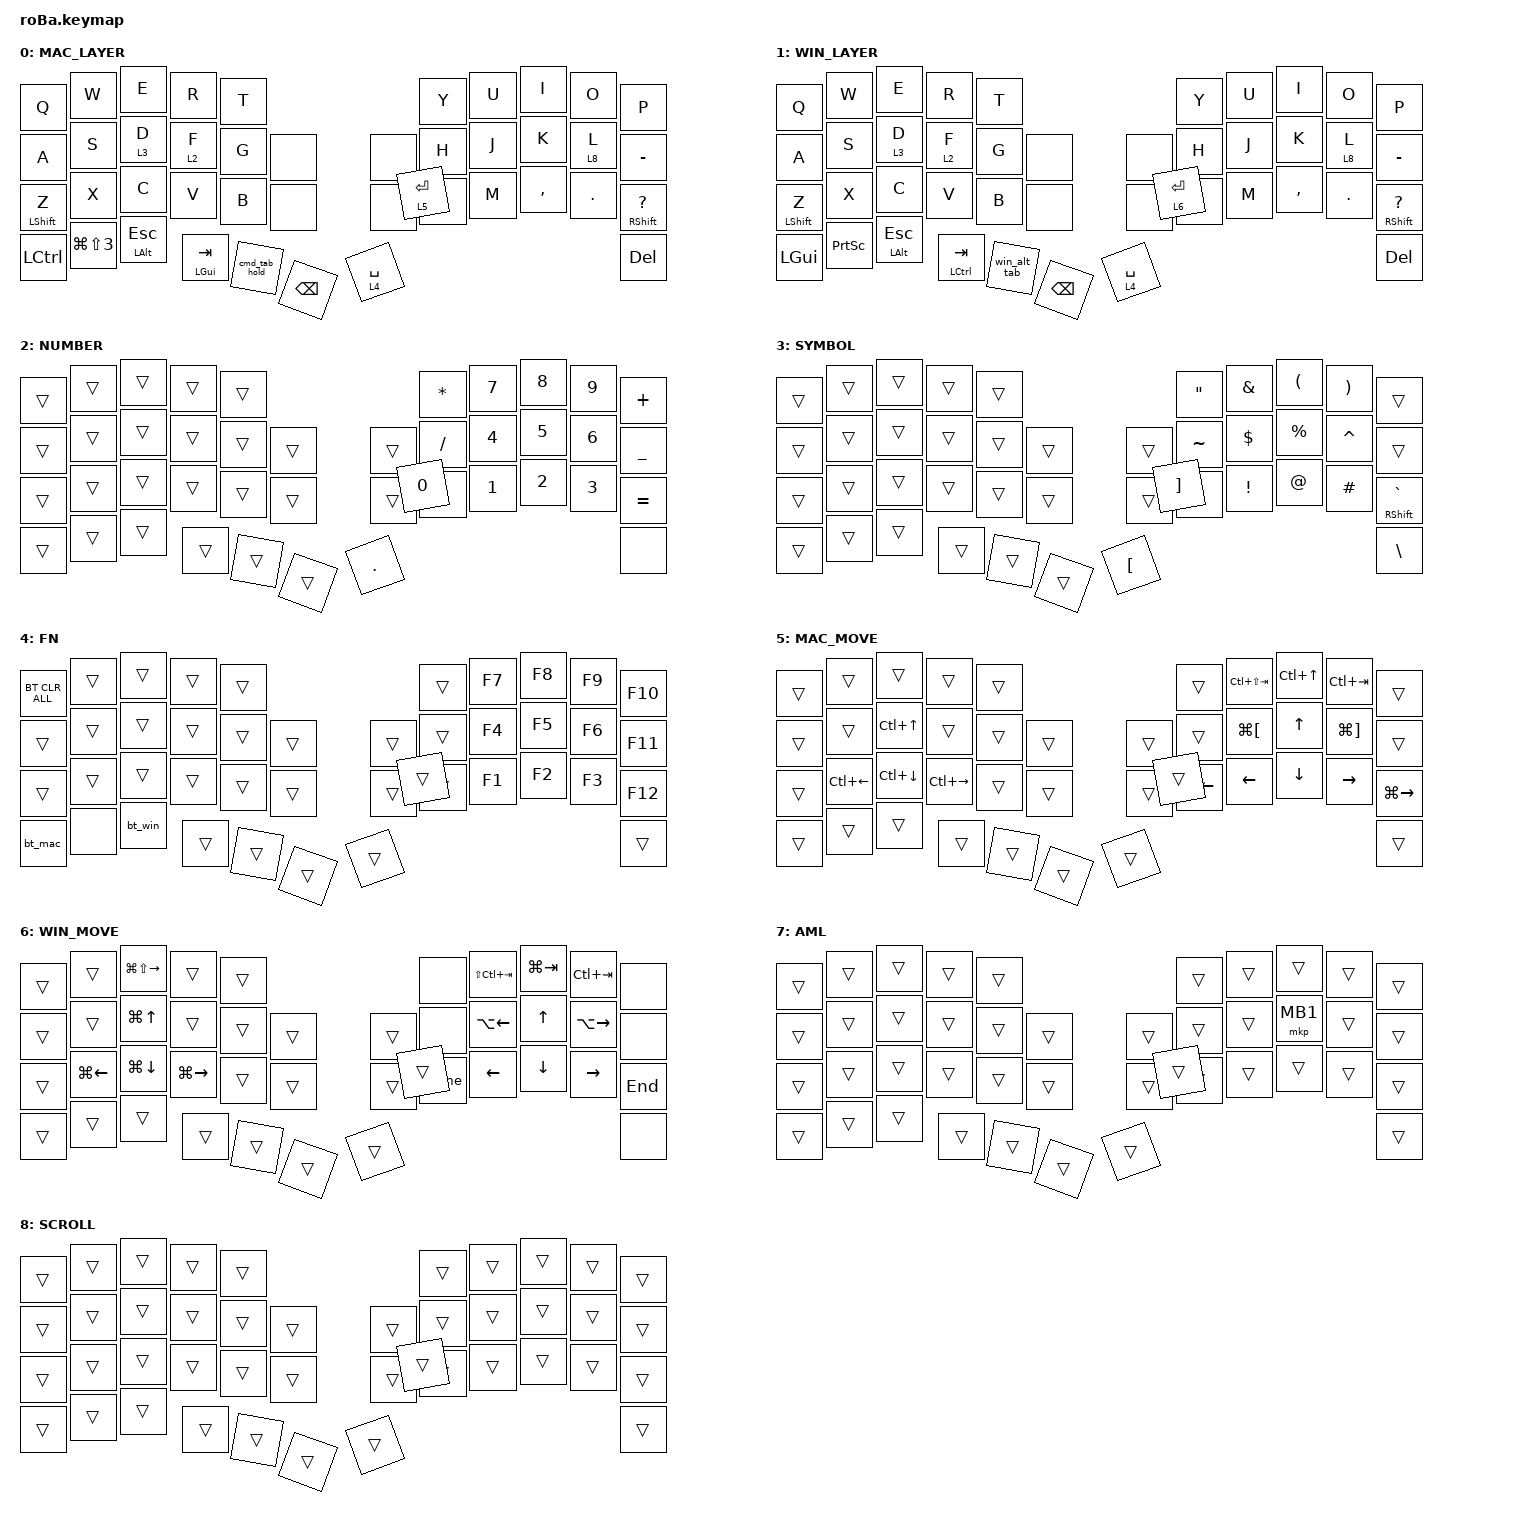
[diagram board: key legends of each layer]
#include <input/processors.dtsi>
#include <behaviors.dtsi>
#include <dt-bindings/zmk/bt.h>
#include <dt-bindings/zmk/keys.h>
#include <dt-bindings/zmk/pointing.h>

#define MOUSE 7

&mkp_input_listener { input-processors = <&zip_temp_layer 7 10000>; };

&mt {
    flavor = "balanced";
    quick-tap-ms = <0>;
};

&trackball { scroll-layers = <8>; };

/ {
    behaviors {
        tog_on: toggle_layer_on_only {
            compatible = "zmk,behavior-toggle-layer";
            #binding-cells = <1>;
            display-name = "Toggle Layer On";
            toggle-mode = "on";
        };

        tog_off: toggle_layer_off {
            compatible = "zmk,behavior-toggle-layer";
            #binding-cells = <1>;
            display-name = "Toggle Layer Off";
            toggle-mode = "off";
        };

        mt_exit_AML_on_tap: mt_exit_AML_on_tap {
            compatible = "zmk,behavior-hold-tap";
            label = "MT_exit_AML_ON_TAP";
            bindings = <&kp>, <&kp_exit_AML>;

            #binding-cells = <2>;
            tapping-term-ms = <200>;
            flavor = "balanced";
            quick-tap-ms = <200>;
        };
    };

    macros {
        compatible = "zmk,macros";

        cmd_tab_hold: cmd_tab_hold {
            compatible = "zmk,behavior-macro";
            #binding-cells = <0>;
            bindings =
                <&macro_press>,
                <&kp LEFT_GUI>,
                <&macro_tap>,
                <&kp TAB>,
                <&macro_pause_for_release>,
                <&macro_release>,
                <&kp LEFT_GUI>;

            label = "CMD_TAB_HOLD";
        };

        win_alt_tab: win_alt_tab {
            compatible = "zmk,behavior-macro";
            #binding-cells = <0>;
            bindings =
                <&macro_press>,
                <&kp LEFT_ALT>,
                <&macro_tap>,
                <&kp TAB>,
                <&macro_pause_for_release>,
                <&macro_release>,
                <&kp LEFT_ALT>;

            label = "WIN_ALT_TAB";
        };

        exit_AML: exit_AML {
            compatible = "zmk,behavior-macro";
            wait-ms = <0>;
            tap-ms = <0>;
            #binding-cells = <0>;
            bindings = <&tog_off 7>;
            label = "exit_AML";
        };

        kp_exit_AML: kp_exit_AML {
            compatible = "zmk,behavior-macro-one-param";
            wait-ms = <0>;
            tap-ms = <0>;
            #binding-cells = <1>;
            bindings = <&macro_param_1to1 &kp MACRO_PLACEHOLDER &exit_AML>;
            label = "KP_exit_AML";
        };

        bt_mac: bt_mac {
            compatible = "zmk,behavior-macro";
            #binding-cells = <0>;
            bindings =
                <&tog_off 1 &tog_off 0>,
                <&macro_wait_time 200>,
                <&bt BT_SEL 0>,
                <&macro_wait_time 500>,
                <&tog_on 0 &bt BT_DISC 1>;

            label = "BT_MAC";
        };

        bt_win: bt_win {
            compatible = "zmk,behavior-macro";
            #binding-cells = <0>;
            bindings =
                <&tog_off 1 &tog_off 0>,
                <&macro_wait_time 200>,
                <&bt BT_SEL 1>,
                <&macro_wait_time 500>,
                <&tog_on 1 &bt BT_DISC 0>;

            label = "BT_WIN";
        };
    };

    combos {
        compatible = "zmk,combos";

        eisu {
            bindings = <&kp INT_MUHENKAN>;
            key-positions = <2 1>;
            layers = <1>;
        };

        kana {
            bindings = <&kp INTERNATIONAL_4>;
            key-positions = <7 8>;
            layers = <1>;
        };

        abc {
            bindings = <&kp LANG2>;
            key-positions = <1 2>;
            layers = <0>;
        };

        aiu {
            bindings = <&kp LANG1>;
            key-positions = <7 8>;
            layers = <0>;
        };

        mb2 {
            bindings = <&mkp MB2>;
            key-positions = <19 20>;
        };
    };

    keymap {
        compatible = "zmk,keymap";

        MAC_LAYER {
            bindings = <
&kp Q                             &kp W                 &kp E                &kp R                             &kp T                                          &kp Y        &kp U  &kp I      &kp O    &kp P
&kp A                             &kp S                 &lt 3 D              &lt 2 F                           &kp G          &none              &none        &kp H        &kp J  &kp K      &lt 8 L  &kp MINUS
&mt_exit_AML_on_tap LEFT_SHIFT Z  &kp X                 &kp C                &kp V                             &kp B          &none              &none        &kp N        &kp M  &kp COMMA  &kp DOT  &mt_exit_AML_on_tap RIGHT_SHIFT QUESTION
&kp LEFT_CONTROL                  &kp LG(LS(NUMBER_3))  &mt LEFT_ALT ESCAPE  &mt_exit_AML_on_tap LEFT_GUI TAB  &cmd_tab_hold  &kp BACKSPACE      &lt 4 SPACE  &lt 5 ENTER                             &kp DELETE
            >;
        };

        WIN_LAYER {
            bindings = <
&kp Q                         &kp W            &kp E                &kp R                                 &kp T                                         &kp Y        &kp U  &kp I      &kp O       &kp P
&kp A                         &kp S            &lt 3 D              &lt 2 F                               &kp G         &none              &none        &kp H        &kp J  &kp K      &lt 8 L     &kp MINUS
&mt_exit_AML_on_tap LSHIFT Z  &kp X            &kp C                &kp V                                 &kp B         &none              &none        &kp N        &kp M  &kp COMMA  &kp PERIOD  &mt_exit_AML_on_tap RIGHT_SHIFT QUESTION
&kp LEFT_GUI                  &kp PRINTSCREEN  &mt LEFT_ALT ESCAPE  &mt_exit_AML_on_tap LEFT_CONTROL TAB  &win_alt_tab  &kp BACKSPACE      &lt 4 SPACE  &lt 6 ENTER                                &kp DELETE
            >;
        };

        NUMBER {
            bindings = <
&trans  &trans  &trans  &trans  &trans                       &kp ASTERISK  &kp N7  &kp N8  &kp N9  &kp PLUS
&trans  &trans  &trans  &trans  &trans  &trans      &trans   &kp SLASH     &kp N4  &kp N5  &kp N6  &kp UNDERSCORE
&trans  &trans  &trans  &trans  &trans  &trans      &trans   &kp COLON     &kp N1  &kp N2  &kp N3  &kp EQUAL
&trans  &trans  &trans  &trans  &trans  &trans      &kp DOT  &kp NUMBER_0                          &none
            >;
        };

        SYMBOL {
            bindings = <
&trans  &trans  &trans  &trans  &trans                                &kp DOUBLE_QUOTES  &kp AMPERSAND    &kp LEFT_PARENTHESIS  &kp RIGHT_PARENTHESIS  &trans
&trans  &trans  &trans  &trans  &trans  &trans      &trans            &kp TILDE          &kp DOLLAR       &kp PERCENT           &kp CARET              &trans
&trans  &trans  &trans  &trans  &trans  &trans      &trans            &kp SEMICOLON      &kp EXCLAMATION  &kp AT_SIGN           &kp HASH               &mt RIGHT_SHIFT GRAVE
&trans  &trans  &trans  &trans  &trans  &trans      &kp LEFT_BRACKET  &kp RIGHT_BRACKET                                                                &kp BACKSLASH
            >;
        };

        FN {
            bindings = <
&bt BT_CLR_ALL  &trans  &trans   &trans  &trans                      &trans  &kp F7  &kp F8  &kp F9  &kp F10
&trans          &trans  &trans   &trans  &trans  &trans      &trans  &trans  &kp F4  &kp F5  &kp F6  &kp F11
&trans          &trans  &trans   &trans  &trans  &trans      &trans  &trans  &kp F1  &kp F2  &kp F3  &kp F12
&bt_mac         &none   &bt_win  &trans  &trans  &trans      &trans  &trans                          &trans
            >;
        };

        MAC_MOVE {
            bindings = <
&trans  &trans              &trans              &trans               &trans                      &trans              &kp LC(LS(TAB))       &kp LC(UP_ARROW)  &kp LC(TAB)            &trans
&trans  &trans              &kp LC(UP_ARROW)    &trans               &trans  &trans      &trans  &trans              &kp LG(LEFT_BRACKET)  &kp UP_ARROW      &kp LG(RIGHT_BRACKET)  &trans
&trans  &kp LC(LEFT_ARROW)  &kp LC(DOWN_ARROW)  &kp LC(RIGHT_ARROW)  &trans  &trans      &trans  &kp LG(LEFT_ARROW)  &kp LEFT_ARROW        &kp DOWN_ARROW    &kp RIGHT_ARROW        &kp LG(RIGHT_ARROW)
&trans  &trans              &trans              &trans               &trans  &trans      &trans  &trans                                                                             &trans
            >;
        };

        WIN_MOVE {
            bindings = <
&trans  &trans              &kp LG(LS(RIGHT_ARROW))  &trans               &trans                      &none     &kp LS(LC(TAB))     &kp LG(TAB)     &kp LC(TAB)          &none
&trans  &trans              &kp LG(UP_ARROW)         &trans               &trans  &trans      &trans  &none     &kp LA(LEFT_ARROW)  &kp UP_ARROW    &kp LA(RIGHT_ARROW)  &none
&trans  &kp LG(LEFT_ARROW)  &kp LG(DOWN_ARROW)       &kp LG(RIGHT_ARROW)  &trans  &trans      &trans  &kp HOME  &kp LEFT_ARROW      &kp DOWN_ARROW  &kp RIGHT_ARROW      &kp END
&trans  &trans              &trans                   &trans               &trans  &trans      &trans  &trans                                                             &none
            >;
        };

        AML {
            bindings = <
&trans  &trans  &trans  &trans  &trans                      &trans  &trans  &trans    &trans  &trans
&trans  &trans  &trans  &trans  &trans  &trans      &trans  &trans  &trans  &mkp MB1  &trans  &trans
&trans  &trans  &trans  &trans  &trans  &trans      &trans  &trans  &trans  &trans    &trans  &trans
&trans  &trans  &trans  &trans  &trans  &trans      &trans  &trans                            &trans
            >;
        };

        SCROLL {
            bindings = <
&trans  &trans  &trans  &trans  &trans                      &trans  &trans  &trans  &trans  &trans
&trans  &trans  &trans  &trans  &trans  &trans      &trans  &trans  &trans  &trans  &trans  &trans
&trans  &trans  &trans  &trans  &trans  &trans      &trans  &trans  &trans  &trans  &trans  &trans
&trans  &trans  &trans  &trans  &trans  &trans      &trans  &trans                          &trans
            >;
        };
    };
};
